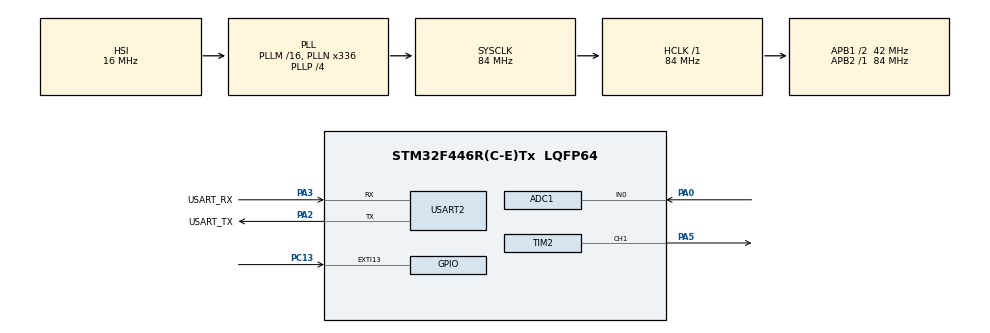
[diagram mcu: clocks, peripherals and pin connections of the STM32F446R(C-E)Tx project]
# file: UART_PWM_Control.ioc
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ADC1.Channel-0\#ChannelRegularConversion=ADC_CHANNEL_0
ADC1.ContinuousConvMode=ENABLE
ADC1.NbrOfConversionFlag=1
ADC1.Rank-0\#ChannelRegularConversion=1
ADC1.SamplingTime-0\#ChannelRegularConversion=ADC_SAMPLETIME_3CYCLES
ADC1.master=1
Dma.ADC1.0.Direction=DMA_PERIPH_TO_MEMORY
Dma.ADC1.0.FIFOMode=DMA_FIFOMODE_DISABLE
Dma.ADC1.0.Instance=DMA2_Stream0
Dma.ADC1.0.MemDataAlignment=DMA_MDATAALIGN_HALFWORD
Dma.ADC1.0.MemInc=DMA_MINC_ENABLE
Dma.ADC1.0.Mode=DMA_CIRCULAR
Dma.ADC1.0.PeriphDataAlignment=DMA_PDATAALIGN_HALFWORD
Dma.ADC1.0.PeriphInc=DMA_PINC_DISABLE
Dma.ADC1.0.Priority=DMA_PRIORITY_LOW
Dma.Request0=ADC1
Mcu.Family=STM32F4
Mcu.Name=STM32F446R(C-E)Tx
Mcu.Package=LQFP64
NVIC.DMA2_Stream0_IRQn=true\:0\:0\:false\:false\:true\:false\:true\:true
NVIC.PriorityGroup=NVIC_PRIORITYGROUP_0
NVIC.USART2_IRQn=true\:0\:0\:false\:false\:true\:true\:true\:true
PA0-WKUP.Signal=ADCx_IN0
PA13.GPIO_Label=TMS
PA13.Mode=Serial_Wire
PA13.Signal=SYS_JTMS-SWDIO
PA14.GPIO_Label=TCK
PA14.Mode=Serial_Wire
PA14.Signal=SYS_JTCK-SWCLK
PA2.GPIO_Label=USART_TX
PA2.Mode=Asynchronous
PA2.Signal=USART2_TX
PA3.GPIO_Label=USART_RX
PA3.Mode=Asynchronous
PA3.Signal=USART2_RX
PA5.Signal=S_TIM2_CH1_ETR
PB3.GPIO_Label=SWO
PB3.Signal=SYS_JTDO-SWO
PC13.Signal=GPXTI13
PC14-OSC32_IN.Mode=LSE-External-Oscillator
PC14-OSC32_IN.Signal=RCC_OSC32_IN
PC15-OSC32_OUT.Mode=LSE-External-Oscillator
PC15-OSC32_OUT.Signal=RCC_OSC32_OUT
PH0-OSC_IN.Mode=HSE-External-Oscillator
PH0-OSC_IN.Signal=RCC_OSC_IN
PH1-OSC_OUT.Mode=HSE-External-Oscillator
PH1-OSC_OUT.Signal=RCC_OSC_OUT
ProjectManager.HeapSize=0x200
ProjectManager.StackSize=0x400
ProjectManager.TargetToolchain=STM32CubeIDE
RCC.48MHZClocksFreq_Value=84000000
RCC.AHBFreq_Value=84000000
RCC.APB1CLKDivider=RCC_HCLK_DIV2
RCC.APB1Freq_Value=42000000
RCC.APB1TimFreq_Value=84000000
RCC.APB2Freq_Value=84000000
RCC.APB2TimFreq_Value=84000000
RCC.CortexFreq_Value=84000000
RCC.FLatency-AdvancedSettings=FLASH_LATENCY_2
RCC.HCLKFreq_Value=84000000
RCC.HSE_VALUE=8000000
RCC.HSI_VALUE=16000000
RCC.PLLN=336
RCC.PLLP=RCC_PLLP_DIV4
RCC.SYSCLKFreq_VALUE=84000000
RCC.SYSCLKSource=RCC_SYSCLKSOURCE_PLLCLK
RCC.USBFreq_Value=168000000
RCC.VCOOutputFreq_Value=336000000
SH.ADCx_IN0.0=ADC1_IN0,IN0
SH.S_TIM2_CH1_ETR.0=TIM2_CH1,PWM Generation1 CH1
TIM2.Channel-PWM\ Generation1\ CH1=TIM_CHANNEL_1
TIM2.Period=990
TIM2.Prescaler=89
TIM2.Pulse-PWM\ Generation1\ CH1=250
USART2.VirtualMode=VM_ASYNC
board=NUCLEO-F446RE

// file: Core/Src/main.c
/* USER CODE BEGIN Header */
/**
  ******************************************************************************
  * @file           : main.c
  * @brief          : Main program body
  ******************************************************************************
  * @attention
  *
  * Copyright (c) 2026 STMicroelectronics.
  * All rights reserved.
  *
  * This software is licensed under terms that can be found in the LICENSE file
  * in the root directory of this software component.
  * If no LICENSE file comes with this software, it is provided AS-IS.
  *
  ******************************************************************************
  */
/* USER CODE END Header */
#include "main.h"
#include "stdio.h"
#include <string.h>

ADC_HandleTypeDef hadc1;
DMA_HandleTypeDef hdma_adc1;

TIM_HandleTypeDef htim2;

UART_HandleTypeDef huart2;

/* USER CODE BEGIN PV */
uint8_t rx_char; //one word
char rx_buffer[50]; //one string
uint8_t rx_index = 0; //word number
volatile uint8_t rx_line_ready = 0; //string ready

//breath_light
uint8_t breath_mode = 0;
int breath = 0;
int breath_dir = 1;
/* USER CODE END PV */

void SystemClock_Config(void);
static void MX_GPIO_Init(void);
static void MX_DMA_Init(void);
static void MX_ADC1_Init(void);
static void MX_USART2_UART_Init(void);
static void MX_TIM2_Init(void);

/* USER CODE BEGIN 0 */
int __io_putchar(int ch)
{
    HAL_UART_Transmit(&huart2, (uint8_t *)&ch, 1, HAL_MAX_DELAY);
    return ch;
}
uint32_t Read_ADC(void)
{
    uint32_t value = 0;

    HAL_ADC_Start(&hadc1);

    if (HAL_ADC_PollForConversion(&hadc1, 100) == HAL_OK)
    {
        value = HAL_ADC_GetValue(&hadc1);
    }

    HAL_ADC_Stop(&hadc1);

    return value;
}
/* USER CODE END 0 */

int main(void)
{

  /* MCU Configuration--------------------------------------------------------*/

  /* Reset of all peripherals, Initializes the Flash interface and the Systick. */
  HAL_Init();

  /* Configure the system clock */
  SystemClock_Config();

  /* Initialize all configured peripherals */
  MX_GPIO_Init();
  MX_DMA_Init();
  MX_USART2_UART_Init();
  MX_ADC1_Init();
  MX_TIM2_Init();
  /* USER CODE BEGIN 2 */
  HAL_TIM_PWM_Start(&htim2, TIM_CHANNEL_1);
  HAL_UART_Receive_IT(&huart2, &rx_char, 1);
  printf("\r\n===== UART String Control =====\r\n");
  printf("Write help and press Enter\r\n");
  /* USER CODE END 2 */

  /* Infinite loop */
  while (1)
  {

    /* USER CODE BEGIN 3 */
	    if (rx_line_ready)
	    {
	        rx_line_ready = 0;

	        printf("\r\nCMD: %s\r\n", rx_buffer);

	        if (strcmp(rx_buffer, "off") == 0)
	        {
	            breath_mode = 0;
	            __HAL_TIM_SET_COMPARE(&htim2, TIM_CHANNEL_1, 0);
	            printf("LED OFF\r\n");
	        }
	        else if (strcmp(rx_buffer, "25") == 0)
	        {
	            breath_mode = 0;
	            __HAL_TIM_SET_COMPARE(&htim2, TIM_CHANNEL_1, 250);
	            printf("LED 25%%\r\n");
	        }
	        else if (strcmp(rx_buffer, "50") == 0)
	        {
	            breath_mode = 0;
	            __HAL_TIM_SET_COMPARE(&htim2, TIM_CHANNEL_1, 500);
	            printf("LED 50%%\r\n");
	        }
	        else if (strcmp(rx_buffer, "100") == 0)
	        {
	            breath_mode = 0;
	            __HAL_TIM_SET_COMPARE(&htim2, TIM_CHANNEL_1, 999);
	            printf("LED 100%%\r\n");
	        }
	        else if (strcmp(rx_buffer, "breath") == 0)
	        {
	            breath_mode = 1;
	            printf("Breathing mode ON\r\n");
	        }
	        else if (strcmp(rx_buffer, "stop") == 0)
	        {
	            breath_mode = 0;
	            printf("Breathing mode STOP\r\n");
	        }
	        else if (strcmp(rx_buffer, "adc") == 0)
	        {
	        	breath_mode = 0;
	            uint32_t adc_value = Read_ADC();
	            printf("ADC = %lu\r\n", adc_value);
	        }
	        else if (strcmp(rx_buffer, "help") == 0)
	        {
	            printf("Commands:\r\n");
	            printf("off    : LED OFF\r\n");
	            printf("25     : LED 25%%\r\n");
	            printf("50     : LED 50%%\r\n");
	            printf("100    : LED 100%%\r\n");
	            printf("breath : breathing LED\r\n");
	            printf("stop   : stop breathing\r\n");
	            printf("adc    : read ADC\r\n");
	            printf("help   : show commands\r\n");
	        }
	        else
	        {
	            printf("Unknown command\r\n");
	        }
	    }

	    if (breath_mode)
	    {
	        __HAL_TIM_SET_COMPARE(&htim2, TIM_CHANNEL_1, breath);

	        if (breath_dir)
	        {
	            breath += 5;
	            if (breath >= 999)
	            {
	                breath = 999;
	                breath_dir = 0;
	            }
	        }
	        else
	        {
	            breath -= 5;
	            if (breath <= 0)
	            {
	                breath = 0;
	                breath_dir = 1;
	            }
	        }

	        HAL_Delay(10);
	    }
  }
  /* USER CODE END 3 */
}

void SystemClock_Config(void)
{
  RCC_OscInitTypeDef RCC_OscInitStruct = {0};
  RCC_ClkInitTypeDef RCC_ClkInitStruct = {0};

  /** Configure the main internal regulator output voltage
  */
  __HAL_RCC_PWR_CLK_ENABLE();
  __HAL_PWR_VOLTAGESCALING_CONFIG(PWR_REGULATOR_VOLTAGE_SCALE3);

  /** Initializes the RCC Oscillators according to the specified parameters
  * in the RCC_OscInitTypeDef structure.
  */
  RCC_OscInitStruct.OscillatorType = RCC_OSCILLATORTYPE_HSI;
  RCC_OscInitStruct.HSIState = RCC_HSI_ON;
  RCC_OscInitStruct.HSICalibrationValue = RCC_HSICALIBRATION_DEFAULT;
  RCC_OscInitStruct.PLL.PLLState = RCC_PLL_ON;
  RCC_OscInitStruct.PLL.PLLSource = RCC_PLLSOURCE_HSI;
  RCC_OscInitStruct.PLL.PLLM = 16;
  RCC_OscInitStruct.PLL.PLLN = 336;
  RCC_OscInitStruct.PLL.PLLP = RCC_PLLP_DIV4;
  RCC_OscInitStruct.PLL.PLLQ = 2;
  RCC_OscInitStruct.PLL.PLLR = 2;
  if (HAL_RCC_OscConfig(&RCC_OscInitStruct) != HAL_OK)
  {
    Error_Handler();
  }

  /** Initializes the CPU, AHB and APB buses clocks
  */
  RCC_ClkInitStruct.ClockType = RCC_CLOCKTYPE_HCLK|RCC_CLOCKTYPE_SYSCLK
                              |RCC_CLOCKTYPE_PCLK1|RCC_CLOCKTYPE_PCLK2;
  RCC_ClkInitStruct.SYSCLKSource = RCC_SYSCLKSOURCE_PLLCLK;
  RCC_ClkInitStruct.AHBCLKDivider = RCC_SYSCLK_DIV1;
  RCC_ClkInitStruct.APB1CLKDivider = RCC_HCLK_DIV2;
  RCC_ClkInitStruct.APB2CLKDivider = RCC_HCLK_DIV1;

  if (HAL_RCC_ClockConfig(&RCC_ClkInitStruct, FLASH_LATENCY_2) != HAL_OK)
  {
    Error_Handler();
  }
}

static void MX_ADC1_Init(void)
{

  ADC_ChannelConfTypeDef sConfig = {0};

  /** Configure the global features of the ADC (Clock, Resolution, Data Alignment and number of conversion)
  */
  hadc1.Instance = ADC1;
  hadc1.Init.ClockPrescaler = ADC_CLOCK_SYNC_PCLK_DIV4;
  hadc1.Init.Resolution = ADC_RESOLUTION_12B;
  hadc1.Init.ScanConvMode = DISABLE;
  hadc1.Init.ContinuousConvMode = ENABLE;
  hadc1.Init.DiscontinuousConvMode = DISABLE;
  hadc1.Init.ExternalTrigConvEdge = ADC_EXTERNALTRIGCONVEDGE_NONE;
  hadc1.Init.ExternalTrigConv = ADC_SOFTWARE_START;
  hadc1.Init.DataAlign = ADC_DATAALIGN_RIGHT;
  hadc1.Init.NbrOfConversion = 1;
  hadc1.Init.DMAContinuousRequests = DISABLE;
  hadc1.Init.EOCSelection = ADC_EOC_SINGLE_CONV;
  if (HAL_ADC_Init(&hadc1) != HAL_OK)
  {
    Error_Handler();
  }

  /** Configure for the selected ADC regular channel its corresponding rank in the sequencer and its sample time.
  */
  sConfig.Channel = ADC_CHANNEL_0;
  sConfig.Rank = 1;
  sConfig.SamplingTime = ADC_SAMPLETIME_3CYCLES;
  if (HAL_ADC_ConfigChannel(&hadc1, &sConfig) != HAL_OK)
  {
    Error_Handler();
  }

}

static void MX_TIM2_Init(void)
{

  TIM_MasterConfigTypeDef sMasterConfig = {0};
  TIM_OC_InitTypeDef sConfigOC = {0};

  htim2.Instance = TIM2;
  htim2.Init.Prescaler = 89;
  htim2.Init.CounterMode = TIM_COUNTERMODE_UP;
  htim2.Init.Period = 990;
  htim2.Init.ClockDivision = TIM_CLOCKDIVISION_DIV1;
  htim2.Init.AutoReloadPreload = TIM_AUTORELOAD_PRELOAD_DISABLE;
  if (HAL_TIM_PWM_Init(&htim2) != HAL_OK)
  {
    Error_Handler();
  }
  sMasterConfig.MasterOutputTrigger = TIM_TRGO_RESET;
  sMasterConfig.MasterSlaveMode = TIM_MASTERSLAVEMODE_DISABLE;
  if (HAL_TIMEx_MasterConfigSynchronization(&htim2, &sMasterConfig) != HAL_OK)
  {
    Error_Handler();
  }
  sConfigOC.OCMode = TIM_OCMODE_PWM1;
  sConfigOC.Pulse = 250;
  sConfigOC.OCPolarity = TIM_OCPOLARITY_HIGH;
  sConfigOC.OCFastMode = TIM_OCFAST_DISABLE;
  if (HAL_TIM_PWM_ConfigChannel(&htim2, &sConfigOC, TIM_CHANNEL_1) != HAL_OK)
  {
    Error_Handler();
  }
  HAL_TIM_MspPostInit(&htim2);

}

static void MX_USART2_UART_Init(void)
{

  huart2.Instance = USART2;
  huart2.Init.BaudRate = 115200;
  huart2.Init.WordLength = UART_WORDLENGTH_8B;
  huart2.Init.StopBits = UART_STOPBITS_1;
  huart2.Init.Parity = UART_PARITY_NONE;
  huart2.Init.Mode = UART_MODE_TX_RX;
  huart2.Init.HwFlowCtl = UART_HWCONTROL_NONE;
  huart2.Init.OverSampling = UART_OVERSAMPLING_16;
  if (HAL_UART_Init(&huart2) != HAL_OK)
  {
    Error_Handler();
  }

}

static void MX_DMA_Init(void)
{

  /* DMA controller clock enable */
  __HAL_RCC_DMA2_CLK_ENABLE();

  /* DMA interrupt init */
  /* DMA2_Stream0_IRQn interrupt configuration */
  HAL_NVIC_SetPriority(DMA2_Stream0_IRQn, 0, 0);
  HAL_NVIC_EnableIRQ(DMA2_Stream0_IRQn);

}

static void MX_GPIO_Init(void)
{
  GPIO_InitTypeDef GPIO_InitStruct = {0};

  /* GPIO Ports Clock Enable */
  __HAL_RCC_GPIOC_CLK_ENABLE();
  __HAL_RCC_GPIOH_CLK_ENABLE();
  __HAL_RCC_GPIOA_CLK_ENABLE();
  __HAL_RCC_GPIOB_CLK_ENABLE();

  /*Configure GPIO pin : PC13 */
  GPIO_InitStruct.Pin = GPIO_PIN_13;
  GPIO_InitStruct.Mode = GPIO_MODE_IT_RISING;
  GPIO_InitStruct.Pull = GPIO_NOPULL;
  HAL_GPIO_Init(GPIOC, &GPIO_InitStruct);

}

/* USER CODE BEGIN 4 */
void HAL_UART_RxCpltCallback(UART_HandleTypeDef *huart)
{
    if (huart->Instance == USART2)
    {
        if (rx_char == '\r' || rx_char == '\n')
        {
            if (rx_index > 0)
            {
                rx_buffer[rx_index] = '\0';
                rx_line_ready = 1;
                rx_index = 0;
            }
        }
        else
        {
            if (rx_index < sizeof(rx_buffer) - 1)
            {
                rx_buffer[rx_index++] = rx_char;
            }
            else
            {
                rx_index = 0;
            }
        }

        HAL_UART_Receive_IT(&huart2, &rx_char, 1);
    }
}
/* USER CODE END 4 */

void Error_Handler(void)
{
  __disable_irq();
  while (1)
  {
  }
}
